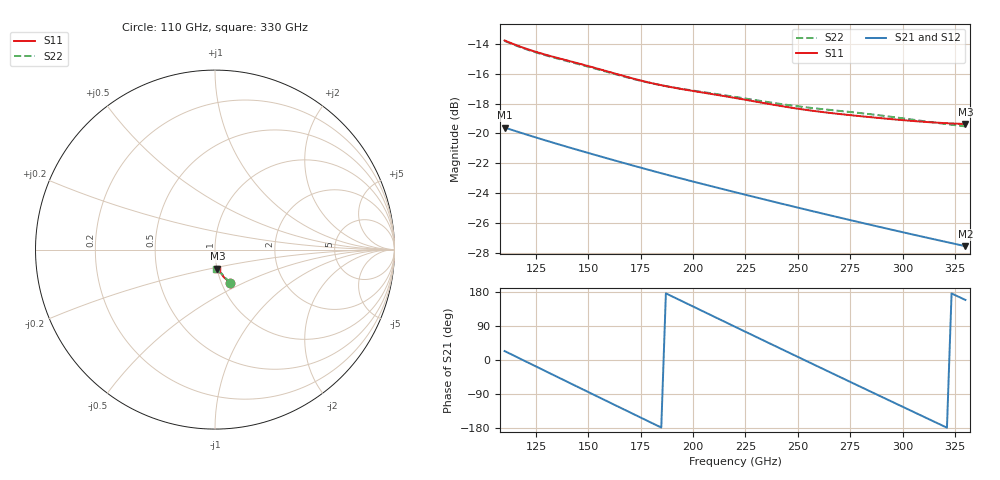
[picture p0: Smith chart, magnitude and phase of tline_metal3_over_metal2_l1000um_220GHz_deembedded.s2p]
! Created with skrf 2.2.0 (http://scikit-rf.org).
# GHz S DB R 50.0
! Port[1] = P1
! Port[2] = P2
!freq dBS11 angS11 dBS21 angS21 dBS12 angS12 dBS22 angS22
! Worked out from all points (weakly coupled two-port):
!   101 points, 110 GHz to 330 GHz, reference 50 ohm
!   highest |S21| = -19.60 dB at 110 GHz (marker M1); lowest = -27.5 dB at 330 GHz (marker M2)
!   lowest |S11| = -19.4 dB at 330 GHz (marker M3), VSWR 1.24, Z = 50.2 - j10.8 ohm
!   |S11| at or under -10 dB: start of sweep to end of sweep
!   |S22| runs from -19.5 to -13.8 dB; largest |S21 - S12| = 1.1e-13
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110  -13.79 -66.4  -19.60 23.6  -19.60 23.6  -13.82 -65.9
116.6  -14.15 -67.0  -19.90 5.7  -19.90 5.7  -14.19 -66.6
125.4  -14.57 -67.8  -20.29 -18.2  -20.29 -18.2  -14.61 -67.3
136.4  -15.00 -69.0  -20.75 -48.0  -20.75 -48.0  -15.04 -68.4
147.4  -15.40 -70.5  -21.20 -77.7  -21.20 -77.7  -15.45 -69.9
156.2  -15.74 -71.7  -21.55 -101.4  -21.55 -101.4  -15.78 -71.0
167.2  -16.17 -73.0  -21.98 -131.1  -21.98 -131.1  -16.21 -72.2
176  -16.50 -73.7  -22.32 -154.7  -22.32 -154.7  -16.52 -72.8
184.8  -16.78 -74.2  -22.66 -178.3  -22.66 -178.3  -16.78 -73.4
193.6  -17.01 -74.8  -22.98 158.2  -22.98 158.2  -16.99 -74.0
204.6  -17.27 -75.7  -23.38 128.8  -23.38 128.8  -17.23 -74.9
213.4  -17.47 -76.5  -23.69 105.4  -23.69 105.4  -17.41 -75.9
220  -17.63 -77.2  -23.92 87.8  -23.92 87.8  -17.56 -76.6
228.8  -17.84 -78.0  -24.23 64.4  -24.23 64.4  -17.75 -77.5
239.8  -18.12 -78.7  -24.61 35.2  -24.61 35.2  -17.99 -78.6
248.6  -18.31 -79.2  -24.91 11.9  -24.91 11.9  -18.16 -79.3
257.4  -18.49 -79.6  -25.20 -11.3  -25.20 -11.3  -18.31 -80.1
268.4  -18.68 -80.1  -25.57 -40.4  -25.57 -40.4  -18.47 -81.2
277.2  -18.81 -80.5  -25.86 -63.5  -25.86 -63.5  -18.60 -82.2
294.8  -19.04 -81.3  -26.43 -109.7  -26.43 -109.7  -18.89 -84.3
312.4  -19.24 -81.9  -26.98 -155.7  -26.98 -155.7  -19.22 -86.2
330  -19.37 -82.6  -27.53 158.5  -27.53 158.5  -19.52 -87.7
